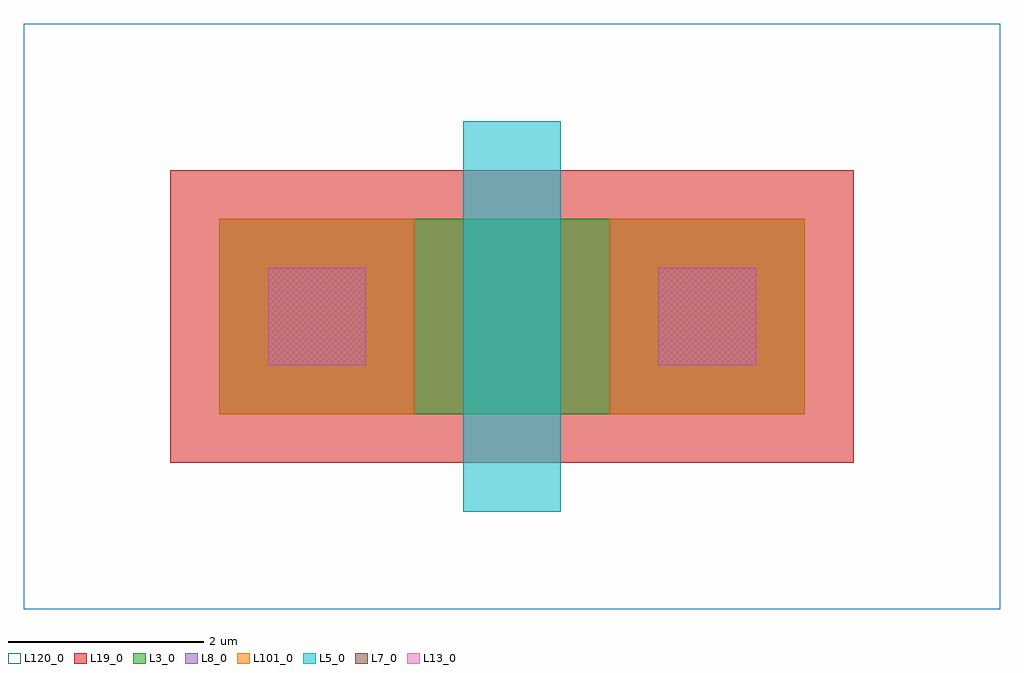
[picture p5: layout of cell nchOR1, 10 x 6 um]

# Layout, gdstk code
import gdstk
lib = gdstk.Library(unit=1e-6, precision=1e-09)
def R(c, l, rs):  # rectangles x0, y0, x1, y1
    for r in rs: c.add(gdstk.rectangle(r[:2], r[2:], *l))
L3_0 = (3, 0)
L5_0 = (5, 0)
L7_0 = (7, 0)
L8_0 = (8, 0)
L13_0 = (13, 0)
L19_0 = (19, 0)
L101_0 = (101, 0)
L120_0 = (120, 0)

dcont = lib.new_cell('dcont')
R(dcont, L3_0, [(-1,-1,1,1)])
R(dcont, L7_0, [(-0.5,-0.5,0.5,0.5)])
R(dcont, L8_0, [(-1,-1,1,1)])
R(dcont, L13_0, [(-0.5,-0.5,0.5,0.5)])
R(dcont, L101_0, [(-1,-1,1,1)])
dcont.add(gdstk.Label('dcont', (0,0), layer=13, texttype=0))

nchor1 = lib.new_cell('nchOR1')
R(nchor1, L3_0, [(-3,-1,3,1)])
R(nchor1, L5_0, [(-0.5,-2,0.5,2)])
R(nchor1, L8_0, [(-3,-1,-1,1), (1,-1,3,1)])
R(nchor1, L19_0, [(-3.5,-1.5,3.5,1.5)])
R(nchor1, L120_0, [(-5,-3,5,3)])
nchor1.add(gdstk.Reference(dcont, (-2,0)))
nchor1.add(gdstk.Reference(dcont, (2,0)))

lib.write_gds('nchOR1.gds')
